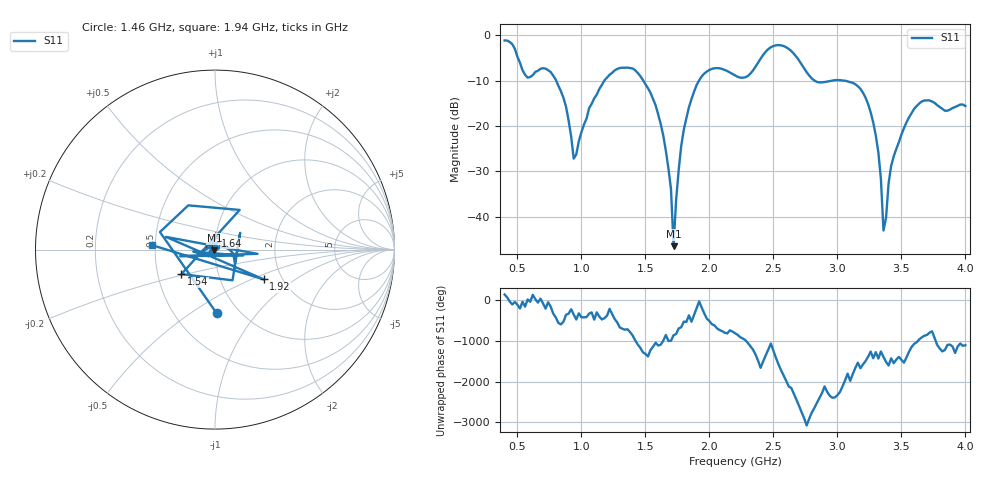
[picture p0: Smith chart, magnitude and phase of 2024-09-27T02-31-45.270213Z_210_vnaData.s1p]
!Created with skrf (http://scikit-rf.org).
# Hz S RI R 50.0
!freq ReS11 ImS11
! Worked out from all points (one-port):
!   181 points, 400 MHz to 4 GHz, reference 50 ohm
!   lowest |S11| = -46.4 dB at 1.72 GHz (marker M1), VSWR 1.01, Z = 49.6 - j0.295 ohm
!   |S11| at or under -10 dB: 802.8 MHz to 1.179 GHz (376.7 MHz wide, 38 % of centre); 1.483 GHz to 1.919 GHz (436.2 MHz wide, 25.6 % of centre); 3.041 GHz to end of sweep (the widest 3 of 4)
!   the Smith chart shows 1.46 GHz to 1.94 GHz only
!   S11 on the Smith chart (normalised r, x): 1.46 GHz: 0.79, -0.64; 1.54 GHz: 0.66, -0.19; 1.64 GHz: 0.99, +0.16; 1.92 GHz: 1.61, -0.59; 1.94 GHz: 0.48, +0.03
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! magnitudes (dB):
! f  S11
! 400 MHz  -1.2
! 580 MHz  -9.4
! 720 MHz  -7.4
! 860 MHz  -13.8
! 940 MHz  -27.2
! 1.06 GHz  -16.1
! 1.3 GHz  -7.2
! 1.46 GHz  -9.0
! 1.54 GHz  -12.7
! 1.64 GHz  -22.2
! 1.7 GHz  -33.9
! 1.72 GHz  -46.4
! 1.76 GHz  -29.7
! 1.82 GHz  -18.3
! 1.92 GHz  -10.0
! 1.94 GHz  -9.1
! 2.2 GHz  -8.9
! 2.5 GHz  -2.4
! 2.66 GHz  -4.1
! 2.84 GHz  -10.3
! 3.1 GHz  -10.3
! 3.28 GHz  -19.2
! 3.34 GHz  -31.7
! 3.36 GHz  -43.0
! 3.42 GHz  -28.8
! 3.56 GHz  -18.1
! 3.68 GHz  -14.4
! 4 GHz  -15.6
